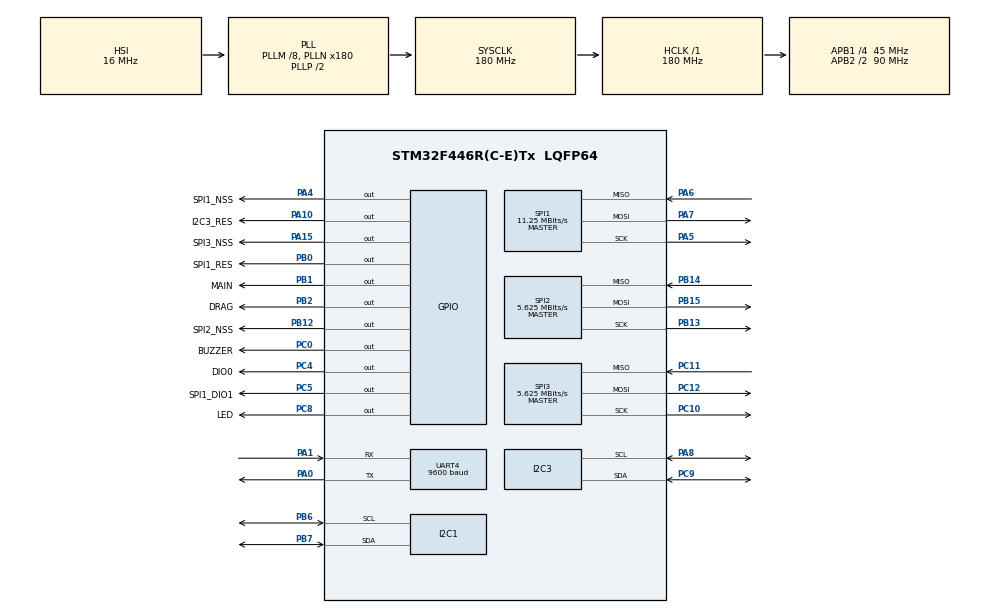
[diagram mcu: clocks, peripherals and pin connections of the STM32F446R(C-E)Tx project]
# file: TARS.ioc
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FATFS._MAX_SS=4096
FATFS._USE_LFN=1
I2C3.I2C_Mode=I2C_Fast
Mcu.Family=STM32F4
Mcu.Name=STM32F446R(C-E)Tx
Mcu.Package=LQFP64
NVIC.PriorityGroup=NVIC_PRIORITYGROUP_4
NVIC.TIM2_IRQn=true\:2\:0\:true\:false\:true\:true\:true\:true
NVIC.UART4_IRQn=true\:1\:0\:true\:false\:true\:true\:true\:true
PA0-WKUP.Mode=Asynchronous
PA0-WKUP.Signal=UART4_TX
PA1.Mode=Asynchronous
PA1.Signal=UART4_RX
PA10.GPIO_Label=I2C3_RES
PA10.PinState=GPIO_PIN_RESET
PA10.Signal=GPIO_Output
PA13.Mode=Serial_Wire
PA13.Signal=SYS_JTMS-SWDIO
PA14.Mode=Serial_Wire
PA14.Signal=SYS_JTCK-SWCLK
PA15.GPIO_Label=SPI3_NSS
PA15.GPIO_Speed=GPIO_SPEED_FREQ_MEDIUM
PA15.PinState=GPIO_PIN_SET
PA15.Signal=GPIO_Output
PA4.GPIO_Label=SPI1_NSS
PA4.PinState=GPIO_PIN_RESET
PA4.Signal=GPIO_Output
PA5.Mode=Full_Duplex_Master
PA5.Signal=SPI1_SCK
PA6.Mode=Full_Duplex_Master
PA6.Signal=SPI1_MISO
PA7.Mode=Full_Duplex_Master
PA7.Signal=SPI1_MOSI
PA8.Mode=I2C
PA8.Signal=I2C3_SCL
PB0.GPIO_Label=SPI1_RES
PB0.PinState=GPIO_PIN_RESET
PB0.Signal=GPIO_Output
PB1.GPIO_Label=MAIN
PB1.Signal=GPIO_Output
PB12.GPIO_Label=SPI2_NSS
PB12.Signal=GPIO_Output
PB13.Mode=Full_Duplex_Master
PB13.Signal=SPI2_SCK
PB14.Mode=Full_Duplex_Master
PB14.Signal=SPI2_MISO
PB15.Mode=Full_Duplex_Master
PB15.Signal=SPI2_MOSI
PB2.GPIO_Label=DRAG
PB2.Signal=GPIO_Output
PB6.Mode=I2C
PB6.Signal=I2C1_SCL
PB7.Mode=I2C
PB7.Signal=I2C1_SDA
PC0.GPIO_Label=BUZZER
PC0.Signal=GPIO_Output
PC10.Mode=Full_Duplex_Master
PC10.Signal=SPI3_SCK
PC11.Mode=Full_Duplex_Master
PC11.Signal=SPI3_MISO
PC12.Mode=Full_Duplex_Master
PC12.Signal=SPI3_MOSI
PC4.GPIO_Label=DIO0
PC4.Signal=GPIO_Output
PC5.GPIO_Label=SPI1_DIO1
PC5.Signal=GPIO_Output
PC8.GPIO_Label=LED
PC8.Signal=GPIO_Output
PC9.Mode=I2C
PC9.Signal=I2C3_SDA
PH0-OSC_IN.Mode=HSE-External-Oscillator
PH0-OSC_IN.Signal=RCC_OSC_IN
PH1-OSC_OUT.Mode=HSE-External-Oscillator
PH1-OSC_OUT.Signal=RCC_OSC_OUT
ProjectManager.HeapSize=0x200
ProjectManager.StackSize=0x400
ProjectManager.TargetToolchain=STM32CubeIDE
RCC.AHBFreq_Value=180000000
RCC.APB1CLKDivider=RCC_HCLK_DIV4
RCC.APB1Freq_Value=45000000
RCC.APB1TimFreq_Value=90000000
RCC.APB2CLKDivider=RCC_HCLK_DIV2
RCC.APB2Freq_Value=90000000
RCC.APB2TimFreq_Value=180000000
RCC.CortexFreq_Value=180000000
RCC.HCLKFreq_Value=180000000
RCC.PLLM=8
RCC.PLLN=180
RCC.SYSCLKFreq_VALUE=180000000
RCC.SYSCLKSource=RCC_SYSCLKSOURCE_PLLCLK
RCC.USBFreq_Value=180000000
RCC.VCOOutputFreq_Value=360000000
SPI1.BaudRatePrescaler=SPI_BAUDRATEPRESCALER_8
SPI1.CalculateBaudRate=11.25 MBits/s
SPI1.Direction=SPI_DIRECTION_2LINES
SPI1.Mode=SPI_MODE_MASTER
SPI1.VirtualType=VM_MASTER
SPI2.BaudRatePrescaler=SPI_BAUDRATEPRESCALER_8
SPI2.CalculateBaudRate=5.625 MBits/s
SPI2.Direction=SPI_DIRECTION_2LINES
SPI2.Mode=SPI_MODE_MASTER
SPI2.VirtualType=VM_MASTER
SPI3.BaudRatePrescaler=SPI_BAUDRATEPRESCALER_8
SPI3.CalculateBaudRate=5.625 MBits/s
SPI3.Direction=SPI_DIRECTION_2LINES
SPI3.Mode=SPI_MODE_MASTER
SPI3.VirtualType=VM_MASTER
TIM2.Period=1800 - 1
TIM2.Prescaler=2000 - 1
UART4.BaudRate=9600
UART4.VirtualMode=Asynchronous
VP_FATFS_VS_Generic.Mode=User_defined
VP_TIM2_VS_ClockSourceINT.Mode=Internal
board=custom

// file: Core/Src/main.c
/* USER CODE BEGIN Header */
/**
  ******************************************************************************
  * @file           : main.c
  * @brief          : Main program body
  ******************************************************************************
  * @attention
  *
  * Copyright (c) 2023 STMicroelectronics.
  * All rights reserved.
  *
  * This software is licensed under terms that can be found in the LICENSE file
  * in the root directory of this software component.
  * If no LICENSE file comes with this software, it is provided AS-IS.
  *
  ******************************************************************************
  */
/* USER CODE END Header */
#include "main.h"
#include "fatfs.h"
#include "i2c.h"
#include "spi.h"
#include "tim.h"
#include "usart.h"
#include "gpio.h"

/* USER CODE BEGIN Includes */
#include "bno055.h"
#include "stdio.h"
#include "BMP180.h"
#include "stdlib.h"
#include "time.h"
#include "math.h"
/* USER CODE END Includes */

void SystemClock_Config(void);
/* USER CODE BEGIN PFP */
void dataFilter(float data[9],float filteredData);
/* USER CODE END PFP */

/* USER CODE BEGIN 0 */
BMP180_Start();
_config();
/* USER CODE END 0 */

int main(void)
{
  /* USER CODE BEGIN 1 */
	float altitudeRaw[9]={};
	float accelRaw[3]={};
	float accelZ[9]={};
	int i,j,t;
	int tick = 10;
	int altCounter,veloCounter;
	float fltrAlt,fltrAccelZ1=0,fltrAccelZ2=0;
	float velocity_,area;
	float Altitude[10];
	float Velocity[10];

	clock_t before,difference;
	int msec=0;
  /* USER CODE END 1 */

  /* MCU Configuration--------------------------------------------------------*/

  /* Reset of all peripherals, Initializes the Flash interface and the Systick. */
  HAL_Init();

  /* Configure the system clock */
  SystemClock_Config();

  /* Initialize all configured peripherals */
  MX_GPIO_Init();
  MX_TIM2_Init();
  MX_I2C1_Init();
  MX_I2C3_Init();
  MX_SPI1_Init();
  MX_SPI2_Init();
  MX_SPI3_Init();
  MX_UART4_Init();
  MX_FATFS_Init();

  /* Infinite loop */
  /* USER CODE BEGIN WHILE */
  while (1)
  {
	altCounter=0;
	veloCounter=0;
	for(i=0;i<10;i++){ // tetikleyici parametrenin doğruluk yüzdesi ölçülmek için veriler 10 elemanlı diziler halinde tutulur.
	fltrAccelZ2 = fltrAccelZ1; //son veri değiştirilmeden önce kaybedilmemek için kaydediliyor.
	for(j=0;j<9;j++){ //filtre her 9 sayıda 1 filtrelenmiş veri ürettiği için veriler 9 elemanlı dizide saklanır.
		bno055_get_Accel_XYZ(accelRaw[3]);
		altitudeRaw[j] = BMP180_GetAlt(0);
		accelRawZ[j] = accelRaw[2]; // yalnızca dikey hıza bakıldığı için sadece z ekseninin ivmesi tutulur.
		before = clock();
		do{
			clock_t difference = clock() - before;		//her veri 10 ms'de bir çekilir, filtrelenmiş her veri 9 veride bir elde edildiği için
			msec = difference * 1000 / CLOCKS_PER_SEC;  // toplam 90 ms'de bir sensör verisi elde edilir.
		}while(msec < tick);
	}

	dataFilter(altitudeRaw,&fltrAlt);   // imu verileri önce medyan sonra ise hareketli ortalama filtrelerinden geçirilerek
	dataFilter(accelZ,&fltrAccelZ1); //  önce ani ve abartılı gürültülerden arındırılır sonra ise keskin kırılmalar yumuşatılır.
	area = ((fltrAccelZ1+fltrAccelZ2)/2)*10000; //ivme verisinin integrali alınarak hız verisine ulaşılır.
	velocity_ += area;
	Altitude[i] = fltrAlt;
	Velocity[i] = velocity_;
	}
	for(t=0;t<9;t++){
		if(Altitude[t] > Altitude[t+1]) // bu 10 elemanlı dizide kaç eleman arasında yükseklik düşmeye başlamış diye kontrol edilir. Yükseklik azalmaya başladığı anda roket zirve noktaya ulaşmış
			altCounter++;				// ve geri düşüyor anlamına gelmektedir.
		if(Velocity[t+1]<0) // dikey hızın yönü değiştiği zaman (-) değer aldığı zaman roket zirve noktaya ulaşmış ve geri düşmeye başlamıştır anlamına gelmektedir.
			veloCounter++;  // hem veride gürültü riski olabileceğinden hem de 90ms'de bir ölçüm yapılabildiği için tetikleme parametresi hızın 0 olaması değil - değer alması alınmıştır.
	}
	if(altCounter>=7 && veloCounter>=7){ // sensörlerde %77 doğruluk sağlandığı anda paraşüt açılır. (her ne kadar veri filtrelenmiş olsa da verilerde yine de gürültü çıkması durumunda işi garantiye almak için eklenmiş bir doğruluk ölçeridir.)
		/*--------------------------------Paraşütü Aç--------------------------------*/
	}

	/* USER CODE END WHILE */
  }
}

void SystemClock_Config(void)
{
  RCC_OscInitTypeDef RCC_OscInitStruct = {0};
  RCC_ClkInitTypeDef RCC_ClkInitStruct = {0};

  /** Configure the main internal regulator output voltage
  */
  __HAL_RCC_PWR_CLK_ENABLE();
  __HAL_PWR_VOLTAGESCALING_CONFIG(PWR_REGULATOR_VOLTAGE_SCALE1);

  /** Initializes the RCC Oscillators according to the specified parameters
  * in the RCC_OscInitTypeDef structure.
  */
  RCC_OscInitStruct.OscillatorType = RCC_OSCILLATORTYPE_HSI;
  RCC_OscInitStruct.HSIState = RCC_HSI_ON;
  RCC_OscInitStruct.HSICalibrationValue = RCC_HSICALIBRATION_DEFAULT;
  RCC_OscInitStruct.PLL.PLLState = RCC_PLL_ON;
  RCC_OscInitStruct.PLL.PLLSource = RCC_PLLSOURCE_HSI;
  RCC_OscInitStruct.PLL.PLLM = 8;
  RCC_OscInitStruct.PLL.PLLN = 180;
  RCC_OscInitStruct.PLL.PLLP = RCC_PLLP_DIV2;
  RCC_OscInitStruct.PLL.PLLQ = 2;
  RCC_OscInitStruct.PLL.PLLR = 2;
  if (HAL_RCC_OscConfig(&RCC_OscInitStruct) != HAL_OK)
  {
    Error_Handler();
  }

  /** Activate the Over-Drive mode
  */
  if (HAL_PWREx_EnableOverDrive() != HAL_OK)
  {
    Error_Handler();
  }

  /** Initializes the CPU, AHB and APB buses clocks
  */
  RCC_ClkInitStruct.ClockType = RCC_CLOCKTYPE_HCLK|RCC_CLOCKTYPE_SYSCLK
                              |RCC_CLOCKTYPE_PCLK1|RCC_CLOCKTYPE_PCLK2;
  RCC_ClkInitStruct.SYSCLKSource = RCC_SYSCLKSOURCE_PLLCLK;
  RCC_ClkInitStruct.AHBCLKDivider = RCC_SYSCLK_DIV1;
  RCC_ClkInitStruct.APB1CLKDivider = RCC_HCLK_DIV4;
  RCC_ClkInitStruct.APB2CLKDivider = RCC_HCLK_DIV2;

  if (HAL_RCC_ClockConfig(&RCC_ClkInitStruct, FLASH_LATENCY_5) != HAL_OK)
  {
    Error_Handler();
  }
}

/* USER CODE BEGIN 4 */
void dataFilter(float data[9],float *filteredData){
	int i,j;
	float dummy;
	float dumArry[3];
	for (i=0;i<3;i++){
		for(j=0;j<3;j++){
			if (data[i]>data[j]){
				dummy =  data[i];
				data[i] = data[j];
				data[j] = dummy;
			}
			if (data[i+3]>data[j+3]){
			  dummy =  data[i];
			  data[i+3] = data[j+3];
			  data[j+3] = dummy;
			}
			if (data[i+6]>data[j+6]){
			  dummy =  data[i];
			  data[i+6] = data[j+6];
			  data[j+6] = dummy;
			}
		}
	}
	*filteredData = (data[1]+data[4]+data[7])/3;
}
/* USER CODE END 4 */

void Error_Handler(void)
{
  __disable_irq();
  while (1)
  {
  }
}
